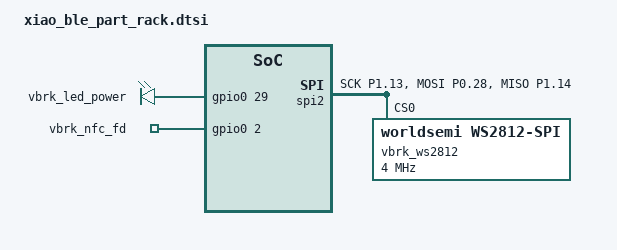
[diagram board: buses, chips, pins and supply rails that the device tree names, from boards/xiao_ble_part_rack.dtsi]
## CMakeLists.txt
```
cmake_minimum_required(VERSION 3.20.0)

find_package(Zephyr REQUIRED HINTS $ENV{ZEPHYR_BASE})
project(part_rack_nrf52)

target_include_directories(app PRIVATE
  src
  ../../../protocol
)

target_sources(app PRIVATE
  src/main.c
  src/app_ble.c
  src/binding_table.c
  src/device_health.c
  src/light_control.c
  src/nfc_wake.c
  ../../../protocol/viberack_adv_payload.c
  ../../../protocol/viberack_ble_dispatcher_model.c
  ../../../protocol/viberack_ble_lifecycle.c
  ../../../protocol/viberack_binding_table_model.c
  ../../../protocol/viberack_device_health.c
  ../../../protocol/viberack_light_frame.c
  ../../../protocol/viberack_light_policy.c
  ../../../protocol/viberack_light_state.c
  ../../../protocol/viberack_protocol.c
  ../../../protocol/viberack_read_all_pacer.c
  ../../../protocol/viberack_storage.c
)
```

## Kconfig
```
source "Kconfig.zephyr"

menu "PartRack application options"

config VBRK_WATCHDOG_ENABLE
    bool "Enable PartRack watchdog feeding"
    default n
    depends on WATCHDOG
    help
      Enables the hardware watchdog setup in the PartRack application.
      Keep this disabled for normal bring-up builds until the watchdog
      reset path has been explicitly validated.

endmenu
```

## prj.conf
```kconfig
CONFIG_BT=y
CONFIG_BT_PERIPHERAL=y
CONFIG_BT_DEVICE_NAME="VBRK-0000"
CONFIG_BT_DEVICE_APPEARANCE=0
CONFIG_BT_GATT_CLIENT=n
CONFIG_BT_MAX_CONN=1
CONFIG_BT_SETTINGS=y
CONFIG_BT_SMP=y
CONFIG_BT_MAX_PAIRED=10
CONFIG_BT_KEYS_OVERWRITE_OLDEST=y

CONFIG_SETTINGS=y
CONFIG_FLASH=y
CONFIG_FLASH_MAP=y
CONFIG_NVS=y

CONFIG_GPIO=y
CONFIG_HWINFO=y
CONFIG_PWM=y
CONFIG_I2C=y
CONFIG_SPI=y
CONFIG_LED_STRIP=y
CONFIG_WATCHDOG=y

CONFIG_LOG=y
CONFIG_LOG_DEFAULT_LEVEL=3
CONFIG_PRINTK=y

CONFIG_MAIN_STACK_SIZE=2048
CONFIG_SYSTEM_WORKQUEUE_STACK_SIZE=2048
```

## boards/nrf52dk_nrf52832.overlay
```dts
/ {
    vbrk_outputs {
        compatible = "gpio-leds";

        vbrk_led_data: led_data {
            gpios = <&gpio0 13 GPIO_ACTIVE_HIGH>;
        };

        vbrk_led_power: led_power {
            gpios = <&gpio0 14 GPIO_ACTIVE_HIGH>;
        };
    };

    vbrk_inputs {
        compatible = "gpio-keys";

        vbrk_nfc_fd: nfc_fd {
            gpios = <&gpio0 15 GPIO_ACTIVE_HIGH>;
        };
    };

    aliases {
        vbrk-led-data = &vbrk_led_data;
        vbrk-led-power = &vbrk_led_power;
        vbrk-nfc-fd = &vbrk_nfc_fd;
    };
};
```

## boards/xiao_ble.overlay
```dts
/*
 * Bare XIAO validation overlay.
 *
 * External PartRack peripherals are optional during naked-board
 * bring-up and must not block BLE startup.
 */
/* #include "xiao_ble_part_rack.dtsi" */
```

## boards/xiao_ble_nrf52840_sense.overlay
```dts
/*
 * Bare XIAO validation overlay.
 *
 * The external PartRack peripherals in xiao_ble_part_rack.dtsi
 * (WS2812 strip, strip power gate, NFC FD input) are intentionally
 * disabled for the current naked development board. Keep BLE and
 * board LEDs independent from optional external hardware.
 *
 * Re-enable the include below when the external strip/NFC hardware
 * is connected and ready for bring-up.
 */
/* #include "xiao_ble_part_rack.dtsi" */
```

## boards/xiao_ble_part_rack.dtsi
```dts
#include <zephyr/dt-bindings/led/led.h>
#include <zephyr/dt-bindings/pinctrl/nrf-pinctrl.h>

&pinctrl {
    vbrk_spi2_ws2812_default: vbrk_spi2_ws2812_default {
        group1 {
            psels = <NRF_PSEL(SPIM_SCK, 1, 13)>,
                    <NRF_PSEL(SPIM_MOSI, 0, 28)>,
                    <NRF_PSEL(SPIM_MISO, 1, 14)>;
        };
    };

    vbrk_spi2_ws2812_sleep: vbrk_spi2_ws2812_sleep {
        group1 {
            psels = <NRF_PSEL(SPIM_SCK, 1, 13)>,
                    <NRF_PSEL(SPIM_MOSI, 0, 28)>,
                    <NRF_PSEL(SPIM_MISO, 1, 14)>;
            low-power-enable;
        };
    };
};

&spi2 {
    compatible = "nordic,nrf-spim";
    status = "okay";
    pinctrl-0 = <&vbrk_spi2_ws2812_default>;
    pinctrl-1 = <&vbrk_spi2_ws2812_sleep>;
    pinctrl-names = "default", "sleep";

    vbrk_ws2812: ws2812@0 {
        compatible = "worldsemi,ws2812-spi";
        reg = <0>;
        spi-max-frequency = <4000000>;
        chain-length = <25>;
        color-mapping = <LED_COLOR_ID_GREEN
                         LED_COLOR_ID_RED
                         LED_COLOR_ID_BLUE>;
        spi-one-frame = <0x70>;
        spi-zero-frame = <0x40>;
        reset-delay = <80>;
    };
};

/ {
    vbrk_outputs {
        compatible = "gpio-leds";

        vbrk_led_power: led_power {
            gpios = <&gpio0 29 GPIO_ACTIVE_HIGH>; /* XIAO D3 */
        };
    };

    vbrk_inputs {
        compatible = "gpio-keys";

        vbrk_nfc_fd: nfc_fd {
            gpios = <&gpio0 2 GPIO_ACTIVE_HIGH>; /* XIAO D0 */
        };
    };

    aliases {
        vbrk-led-power = &vbrk_led_power;
        vbrk-led-strip = &vbrk_ws2812;
        led-strip = &vbrk_ws2812;
        vbrk-nfc-fd = &vbrk_nfc_fd;
    };
};
```

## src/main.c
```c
#include <zephyr/kernel.h>
#include <zephyr/devicetree.h>
#include <zephyr/drivers/gpio.h>
#include <zephyr/logging/log.h>
#include <zephyr/settings/settings.h>

#include "app_ble.h"
#include "binding_table.h"
#include "device_health.h"
#include "light_control.h"
#include "nfc_wake.h"

LOG_MODULE_REGISTER(part_rack, LOG_LEVEL_INF);

#define LED_RED_NODE DT_ALIAS(led0)
#define LED_GREEN_NODE DT_ALIAS(led1)
#define LED_BLUE_NODE DT_ALIAS(led2)

static const struct gpio_dt_spec led_red = GPIO_DT_SPEC_GET(LED_RED_NODE, gpios);
static const struct gpio_dt_spec led_green = GPIO_DT_SPEC_GET(LED_GREEN_NODE, gpios);
static const struct gpio_dt_spec led_blue = GPIO_DT_SPEC_GET(LED_BLUE_NODE, gpios);
static volatile bool ble_connected;

static void status_led_set(const struct gpio_dt_spec *led, bool on)
{
    if (device_is_ready(led->port)) {
        gpio_pin_set_dt(led, on ? 1 : 0);
    }
}

static void status_leds_init(void)
{
    if (device_is_ready(led_red.port)) {
        gpio_pin_configure_dt(&led_red, GPIO_OUTPUT_INACTIVE);
    }
    if (device_is_ready(led_green.port)) {
        gpio_pin_configure_dt(&led_green, GPIO_OUTPUT_INACTIVE);
    }
    if (device_is_ready(led_blue.port)) {
        gpio_pin_configure_dt(&led_blue, GPIO_OUTPUT_INACTIVE);
    }
}

static void blink_status(const struct gpio_dt_spec *led, int count, int on_ms, int off_ms)
{
    for (int i = 0; i < count; i++) {
        status_led_set(led, true);
        k_msleep(on_ms);
        status_led_set(led, false);
        k_msleep(off_ms);
    }
}

static int fatal_ble_error(int err)
{
    status_led_set(&led_green, false);
    while (true) {
        blink_status(&led_red, 3, 200, 200);
        k_msleep(1000);
    }
    return err;
}

int main(void)
{
    int err;

    status_leds_init();
    blink_status(&led_blue, 3, 100, 100);
    status_led_set(&led_red, true);

    LOG_INF("PartRack nRF52 firmware starting");

    err = binding_table_init();
    if (err != 0) {
        LOG_ERR("binding table init failed: %d", err);
        while (true) {
            blink_status(&led_red, 1, 500, 500);
        }
        return err;
    }

    err = light_control_init();
    if (err != 0) {
        LOG_ERR("light control init failed: %d", err);
        while (true) {
            blink_status(&led_red, 2, 250, 250);
            k_msleep(750);
        }
        return err;
    }

    err = device_health_init();
    if (err != 0) {
        LOG_WRN("device health init failed: %d", err);
    }

    err = nfc_wake_init();
    if (err != 0) {
        LOG_WRN("nfc wake init failed: %d", err);
    }

    err = app_ble_init();
    if (err != 0) {
        LOG_ERR("ble start failed: %d", err);
        return fatal_ble_error(err);
    }

    if (IS_ENABLED(CONFIG_BT_SETTINGS)) {
        err = settings_load();
        if (err != 0) {
            LOG_ERR("settings load failed: %d", err);
            return fatal_ble_error(err);
        }
    }

    err = app_ble_start();
    if (err != 0) {
        LOG_ERR("ble advertising start failed: %d", err);
        return fatal_ble_error(err);
    }

    status_led_set(&led_red, false);
    LOG_INF("PartRack firmware ready");

    while (true) {
        device_health_feed_watchdog();

        if (ble_connected) {
            status_led_set(&led_green, false);
            status_led_set(&led_blue, true);
            k_msleep(200);
            continue;
        }

        status_led_set(&led_blue, false);
        blink_status(&led_green, 1, 200, 1800);
    }
}

void app_status_set_ble_connected(bool connected)
{
    ble_connected = connected;
}
```

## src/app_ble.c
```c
#include "app_ble.h"

#include <errno.h>
#include <stddef.h>
#include <string.h>

#include <zephyr/bluetooth/bluetooth.h>
#include <zephyr/bluetooth/conn.h>
#include <zephyr/bluetooth/gatt.h>
#include <zephyr/bluetooth/hci.h>
#include <zephyr/irq.h>
#include <zephyr/kernel.h>
#include <zephyr/logging/log.h>
#include <zephyr/sys/byteorder.h>

#include "binding_table.h"
#include "device_health.h"
#include "light_control.h"
#include "viberack_adv_payload.h"
#include "viberack_ble_dispatcher_model.h"
#include "viberack_ble_lifecycle.h"
#include "viberack_device_health.h"
#include "viberack_read_all_pacer.h"

LOG_MODULE_REGISTER(app_ble, LOG_LEVEL_INF);

void app_status_set_ble_connected(bool connected);

#define VBRK_BT_UUID_BASE BT_UUID_128_ENCODE(0x7f4b0000, 0x8d1a, 0x4d45, 0x9a4e, 0x2b4a7c000000)
#define VBRK_BT_UUID_BINDING_SERVICE BT_UUID_128_ENCODE(0x7f4b0001, 0x8d1a, 0x4d45, 0x9a4e, 0x2b4a7c000000)
#define VBRK_BT_UUID_BINDING_CP BT_UUID_128_ENCODE(0x7f4b1001, 0x8d1a, 0x4d45, 0x9a4e, 0x2b4a7c000000)
#define VBRK_BT_UUID_TABLE_INFO BT_UUID_128_ENCODE(0x7f4b1002, 0x8d1a, 0x4d45, 0x9a4e, 0x2b4a7c000000)
#define VBRK_BT_UUID_LIGHT_SERVICE BT_UUID_128_ENCODE(0x7f4b0002, 0x8d1a, 0x4d45, 0x9a4e, 0x2b4a7c000000)
#define VBRK_BT_UUID_LIGHT_COMMAND BT_UUID_128_ENCODE(0x7f4b2001, 0x8d1a, 0x4d45, 0x9a4e, 0x2b4a7c000000)
#define VBRK_BT_UUID_LIGHT_STATUS BT_UUID_128_ENCODE(0x7f4b2002, 0x8d1a, 0x4d45, 0x9a4e, 0x2b4a7c000000)
#define VBRK_BT_UUID_HEALTH_SERVICE BT_UUID_128_ENCODE(0x7f4b0003, 0x8d1a, 0x4d45, 0x9a4e, 0x2b4a7c000000)
#define VBRK_BT_UUID_DEVICE_HEALTH BT_UUID_128_ENCODE(0x7f4b3001, 0x8d1a, 0x4d45, 0x9a4e, 0x2b4a7c000000)

static struct bt_conn *current_conn;
static vbrk_ble_lifecycle_t ble_lifecycle;
static struct k_work ble_lifecycle_work;
static vbrk_read_all_pacer_t read_all_pacer;
static struct k_work_delayable read_all_work;

static struct bt_uuid_128 binding_service_uuid = BT_UUID_INIT_128(VBRK_BT_UUID_BINDING_SERVICE);
static struct bt_uuid_128 binding_cp_uuid = BT_UUID_INIT_128(VBRK_BT_UUID_BINDING_CP);
static struct bt_uuid_128 table_info_uuid = BT_UUID_INIT_128(VBRK_BT_UUID_TABLE_INFO);
static struct bt_uuid_128 light_service_uuid = BT_UUID_INIT_128(VBRK_BT_UUID_LIGHT_SERVICE);
static struct bt_uuid_128 light_command_uuid = BT_UUID_INIT_128(VBRK_BT_UUID_LIGHT_COMMAND);
static struct bt_uuid_128 light_status_uuid = BT_UUID_INIT_128(VBRK_BT_UUID_LIGHT_STATUS);
static struct bt_uuid_128 health_service_uuid = BT_UUID_INIT_128(VBRK_BT_UUID_HEALTH_SERVICE);
static struct bt_uuid_128 device_health_uuid = BT_UUID_INIT_128(VBRK_BT_UUID_DEVICE_HEALTH);

static uint8_t adv_msd[VBRK_ADV_MSD_SIZE];

static void ble_lifecycle_work_handler(struct k_work *work)
{
    ARG_UNUSED(work);
    vbrk_ble_lifecycle_process(&ble_lifecycle);
}

static void read_all_work_handler(struct k_work *work)
{
    ARG_UNUSED(work);
    vbrk_read_all_pacer_process(&read_all_pacer);
}

static unsigned int lifecycle_lock(void *user_data)
{
    ARG_UNUSED(user_data);
    return irq_lock();
}

static void lifecycle_unlock(unsigned int key, void *user_data)
{
    ARG_UNUSED(user_data);
    irq_unlock(key);
}

static void lifecycle_schedule_work(void *user_data)
{
    ARG_UNUSED(user_data);
    (void)k_work_submit(&ble_lifecycle_work);
}

static void fill_adv_msd(void)
{
    vbrk_adv_payload_input_t input = {
        .company_id = VBRK_DEV_COMPANY_ID,
        .batch_id = 1,
        .battery_pct = device_health_battery_pct(),
        .table_seq = binding_table_seq(),
        .has_unbound_slot = binding_table_has_unbound_slot(),
        .light_active = light_control_mode() != VBRK_LIGHT_OFF,
        .fault = device_health_fault(),
    };

    vbrk_adv_payload_build(adv_msd, &input);
}

static const struct bt_data ad[] = {
    BT_DATA_BYTES(BT_DATA_FLAGS, (BT_LE_AD_GENERAL | BT_LE_AD_NO_BREDR)),
    BT_DATA(BT_DATA_MANUFACTURER_DATA, adv_msd, sizeof(adv_msd)),
};

static const struct bt_data sd[] = {
    BT_DATA(BT_DATA_NAME_COMPLETE, CONFIG_BT_DEVICE_NAME, sizeof(CONFIG_BT_DEVICE_NAME) - 1),
};

static int lifecycle_apply_advertising(bool restart, void *user_data)
{
    ARG_UNUSED(user_data);

    fill_adv_msd();

    if (restart) {
        return bt_le_adv_start(BT_LE_ADV_CONN_FAST_1, ad, ARRAY_SIZE(ad),
                               sd, ARRAY_SIZE(sd));
    }

    return bt_le_adv_update_data(ad, ARRAY_SIZE(ad), sd, ARRAY_SIZE(sd));
}

static ssize_t table_info_read(struct bt_conn *conn, const struct bt_gatt_attr *attr,
                               void *buf, uint16_t len, uint16_t offset)
{
    vbrk_table_info_t info;

    ARG_UNUSED(attr);
    binding_table_get_info(&info);
    return bt_gatt_attr_read(conn, attr, buf, len, offset, &info, sizeof(info));
}

static ssize_t light_status_read(struct bt_conn *conn, const struct bt_gatt_attr *attr,
                                 void *buf, uint16_t len, uint16_t offset)
{
    uint8_t status[3];

    ARG_UNUSED(attr);
    status[0] = light_control_mode();
    sys_put_le16(light_control_remaining_s(), &status[1]);

    return bt_gatt_attr_read(conn, attr, buf, len, offset, status, sizeof(status));
}

static ssize_t device_health_read(struct bt_conn *conn, const struct bt_gatt_attr *attr,
                                  void *buf, uint16_t len, uint16_t offset)
{
    uint8_t payload[VBRK_DEVICE_HEALTH_SIZE];
    vbrk_device_health_t health;

    ARG_UNUSED(attr);

    device_health_get(&health);
    vbrk_device_health_encode(payload, &health);

    return bt_gatt_attr_read(conn, attr, buf, len, offset, payload, sizeof(payload));
}

static int dispatcher_read_one(uint8_t slot, vbrk_slot_record_t *record, void *user_data)
{
    ARG_UNUSED(user_data);
    return binding_table_read_one(slot, record);
}

static void read_all_schedule_next(uint16_t delay_ms, void *user_data)
{
    ARG_UNUSED(user_data);
    (void)k_work_schedule(&read_all_work, K_MSEC(delay_ms));
}

static int dispatcher_write_one(const vbrk_slot_record_t *record, void *user_data)
{
    ARG_UNUSED(user_data);
    return binding_table_write_one(record);
}

static int dispatcher_clear_one(uint8_t slot, void *user_data)
{
    ARG_UNUSED(user_data);
    return binding_table_clear_one(slot);
}

static int dispatcher_insert_at(uint8_t slot, const vbrk_slot_record_t *record,
                                void *user_data)
{
    ARG_UNUSED(user_data);
    return binding_table_insert_at(slot, record);
}

static int dispatcher_remove_at(uint8_t slot, void *user_data)
{
    ARG_UNUSED(user_data);
    return binding_table_remove_at(slot);
}

static int dispatcher_move_block(uint8_t from, uint8_t to, uint8_t len, void *user_data)
{
    ARG_UNUSED(user_data);
    return binding_table_move_block(from, to, len);
}

static int dispatcher_set_qty(uint8_t slot, uint16_t qty, void *user_data)
{
    ARG_UNUSED(user_data);
    return binding_table_set_qty(slot, qty);
}

static int dispatcher_factory_reset(uint32_t magic, void *user_data)
{
    ARG_UNUSED(user_data);
    return binding_table_factory_reset(magic);
}

static int dispatcher_notify_binding(uint8_t op, uint8_t status, const void *payload,
                                     uint16_t len, void *user_data)
{
    ARG_UNUSED(user_data);
    return app_ble_notify_binding_result(op, status, payload, len);
}

static void dispatcher_table_changed(void *user_data)
{
    ARG_UNUSED(user_data);
    app_ble_report_binding_changed();
}

static void notify_binding_status(uint8_t op, int err)
{
    (void)app_ble_notify_binding_result(op, vbrk_ble_status_from_errno(err),
                                        NULL, 0);
}

static bool handle_read_all_async(const uint8_t *frame, uint16_t len)
{
    if (frame[0] != VBRK_OP_READ_ALL) {
        return false;
    }

    if (len != 1) {
        notify_binding_status(VBRK_OP_READ_ALL, -EINVAL);
        return true;
    }

    vbrk_read_all_pacer_start(&read_all_pacer);
    return true;
}

static ssize_t binding_cp_write(struct bt_conn *conn, const struct bt_gatt_attr *attr,
                                const void *buf, uint16_t len, uint16_t offset,
                                uint8_t flags)
{
    const uint8_t *frame = buf;
    vbrk_ble_dispatcher_t dispatcher = {
        .read_one = dispatcher_read_one,
        .write_one = dispatcher_write_one,
        .clear_one = dispatcher_clear_one,
        .insert_at = dispatcher_insert_at,
        .remove_at = dispatcher_remove_at,
        .move_block = dispatcher_move_block,
        .set_qty = dispatcher_set_qty,
        .factory_reset = dispatcher_factory_reset,
        .notify_binding = dispatcher_notify_binding,
        .table_changed = dispatcher_table_changed,
        .user_data = NULL,
    };

    ARG_UNUSED(conn);
    ARG_UNUSED(attr);
    ARG_UNUSED(flags);

    if (offset != 0 || len < 1) {
        return BT_GATT_ERR(BT_ATT_ERR_INVALID_ATTRIBUTE_LEN);
    }

    if (handle_read_all_async(frame, len)) {
        return len;
    }

    (void)vbrk_ble_dispatch_binding_cp(&dispatcher, frame, len);
    return len;
}

static ssize_t light_command_write(struct bt_conn *conn, const struct bt_gatt_attr *attr,
                                   const void *buf, uint16_t len, uint16_t offset,
                                   uint8_t flags)
{
    int err;

    ARG_UNUSED(conn);
    ARG_UNUSED(attr);
    ARG_UNUSED(flags);

    if (offset != 0 || len != VBRK_LIGHT_COMMAND_SIZE) {
        return BT_GATT_ERR(BT_ATT_ERR_INVALID_ATTRIBUTE_LEN);
    }

    err = light_control_apply((const vbrk_light_command_t *)buf);
    if (err != 0) {
        LOG_WRN("light command rejected: %d", err);
    }

    return len;
}

BT_GATT_SERVICE_DEFINE(binding_svc,
    BT_GATT_PRIMARY_SERVICE(&binding_service_uuid.uuid),
    BT_GATT_CHARACTERISTIC(&binding_cp_uuid.uuid,
                           BT_GATT_CHRC_WRITE | BT_GATT_CHRC_NOTIFY,
                           BT_GATT_PERM_WRITE_ENCRYPT,
                           NULL, binding_cp_write, NULL),
    BT_GATT_CCC(NULL, BT_GATT_PERM_READ | BT_GATT_PERM_WRITE),
    BT_GATT_CHARACTERISTIC(&table_info_uuid.uuid,
                           BT_GATT_CHRC_READ | BT_GATT_CHRC_NOTIFY,
                           BT_GATT_PERM_READ,
                           table_info_read, NULL, NULL),
    BT_GATT_CCC(NULL, BT_GATT_PERM_READ | BT_GATT_PERM_WRITE)
);

BT_GATT_SERVICE_DEFINE(light_svc,
    BT_GATT_PRIMARY_SERVICE(&light_service_uuid.uuid),
    BT_GATT_CHARACTERISTIC(&light_command_uuid.uuid,
                           BT_GATT_CHRC_WRITE_WITHOUT_RESP,
                           BT_GATT_PERM_WRITE,
                           NULL, light_command_write, NULL),
    BT_GATT_CHARACTERISTIC(&light_status_uuid.uuid,
                           BT_GATT_CHRC_READ | BT_GATT_CHRC_NOTIFY,
                           BT_GATT_PERM_READ,
                           light_status_read, NULL, NULL),
    BT_GATT_CCC(NULL, BT_GATT_PERM_READ | BT_GATT_PERM_WRITE)
);

BT_GATT_SERVICE_DEFINE(health_svc,
    BT_GATT_PRIMARY_SERVICE(&health_service_uuid.uuid),
    BT_GATT_CHARACTERISTIC(&device_health_uuid.uuid,
                           BT_GATT_CHRC_READ | BT_GATT_CHRC_NOTIFY,
                           BT_GATT_PERM_READ,
                           device_health_read, NULL, NULL),
    BT_GATT_CCC(NULL, BT_GATT_PERM_READ | BT_GATT_PERM_WRITE)
);

static void connected(struct bt_conn *conn, uint8_t err)
{
    int sec_err;

    if (err != 0) {
        LOG_WRN("connection failed: %u", err);
        return;
    }

    current_conn = bt_conn_ref(conn);
    vbrk_ble_lifecycle_connected(&ble_lifecycle);
    app_status_set_ble_connected(true);
    LOG_INF("connected");

    sec_err = bt_conn_set_security(conn, BT_SECURITY_L2);
    if (sec_err != 0) {
        LOG_WRN("failed to request encrypted link: %d", sec_err);
    }
}

static void disconnected(struct bt_conn *conn, uint8_t reason)
{
    ARG_UNUSED(conn);

    LOG_INF("disconnected: %u", reason);
    if (current_conn != NULL) {
        bt_conn_unref(current_conn);
        current_conn = NULL;
    }
    vbrk_read_all_pacer_cancel(&read_all_pacer);
    (void)k_work_cancel_delayable(&read_all_work);
    vbrk_ble_lifecycle_disconnected(&ble_lifecycle);
    app_status_set_ble_connected(false);
}

static void security_changed(struct bt_conn *conn, bt_security_t level,
                             enum bt_security_err err)
{
    ARG_UNUSED(conn);

    if (err == BT_SECURITY_ERR_SUCCESS) {
        LOG_INF("security changed: level %u", level);
        return;
    }

    LOG_WRN("security failed: level %u err %u", level, err);
}

BT_CONN_CB_DEFINE(conn_callbacks) = {
    .connected = connected,
    .disconnected = disconnected,
    .security_changed = security_changed,
};

static int lifecycle_notify_binding(uint8_t op, uint8_t status, const void *payload,
                                    uint16_t len, void *user_data)
{
    uint8_t frame[2 + VBRK_SLOT_RECORD_SIZE];

    ARG_UNUSED(user_data);

    if (current_conn == NULL || len > VBRK_SLOT_RECORD_SIZE) {
        return -ENOTCONN;
    }

    frame[0] = op;
    frame[1] = status;
    if (payload != NULL && len > 0) {
        memcpy(&frame[2], payload, len);
    }

    return bt_gatt_notify(current_conn, &binding_svc.attrs[2], frame, 2 + len);
}

static int lifecycle_notify_table_info(void *user_data)
{
    vbrk_table_info_t info;

    ARG_UNUSED(user_data);

    if (current_conn == NULL) {
        return -ENOTCONN;
    }

    binding_table_get_info(&info);
    return bt_gatt_notify(current_conn, &binding_svc.attrs[5], &info, sizeof(info));
}

static int lifecycle_notify_light_status(uint8_t mode, uint16_t remaining_s,
                                         void *user_data)
{
    uint8_t status[3];

    ARG_UNUSED(user_data);

    if (current_conn == NULL) {
        return -ENOTCONN;
    }

    status[0] = mode;
    sys_put_le16(remaining_s, &status[1]);
    return bt_gatt_notify(current_conn, &light_svc.attrs[4], status, sizeof(status));
}

int app_ble_notify_binding_result(uint8_t op, uint8_t status, const void *payload, uint16_t len)
{
    return vbrk_ble_lifecycle_notify_binding(&ble_lifecycle, op, status,
                                             payload, len);
}

void app_ble_report_binding_changed(void)
{
    vbrk_ble_lifecycle_report_binding_changed(&ble_lifecycle);
}

void app_ble_report_light_changed(void)
{
    vbrk_ble_lifecycle_report_light_changed(&ble_lifecycle,
                                            light_control_mode(),
                                            light_control_remaining_s());
}

void app_ble_report_nfc_fd(void)
{
    vbrk_ble_lifecycle_report_nfc_fd(&ble_lifecycle);
}

int app_ble_init(void)
{
    vbrk_ble_lifecycle_adapter_t adapter = {
        .lock = lifecycle_lock,
        .unlock = lifecycle_unlock,
        .schedule_work = lifecycle_schedule_work,
        .apply_advertising = lifecycle_apply_advertising,
        .notify_binding = lifecycle_notify_binding,
        .notify_table_info = lifecycle_notify_table_info,
        .notify_light_status = lifecycle_notify_light_status,
        .user_data = NULL,
    };
    int err;

    k_work_init(&ble_lifecycle_work, ble_lifecycle_work_handler);
    k_work_init_delayable(&read_all_work, read_all_work_handler);
    vbrk_ble_lifecycle_init(&ble_lifecycle, &adapter);
    vbrk_read_all_pacer_init(&read_all_pacer,
                             &(vbrk_read_all_pacer_adapter_t) {
                                 .read_one = dispatcher_read_one,
                                 .notify_binding = dispatcher_notify_binding,
                                 .schedule_next = read_all_schedule_next,
                                 .user_data = NULL,
                             });

    err = bt_enable(NULL);
    if (err != 0) {
        return err;
    }

    vbrk_ble_lifecycle_bluetooth_initialized(&ble_lifecycle);
    LOG_INF("Bluetooth initialized");
    return 0;
}

int app_ble_start(void)
{
    int err;

    err = vbrk_ble_lifecycle_start(&ble_lifecycle);
    if (err == 0) {
        LOG_INF("advertising started");
    }

    return err;
}
```

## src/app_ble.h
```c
#ifndef APP_BLE_H
#define APP_BLE_H

#include <stdbool.h>
#include <stdint.h>

#include "viberack_protocol.h"

int app_ble_init(void);
int app_ble_start(void);
int app_ble_notify_binding_result(uint8_t op, uint8_t status, const void *payload, uint16_t len);
void app_ble_report_binding_changed(void);
void app_ble_report_light_changed(void);
void app_ble_report_nfc_fd(void);

#endif
```

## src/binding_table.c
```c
#include "binding_table.h"

#include <errno.h>
#include <stdbool.h>
#include <string.h>

#include <zephyr/kernel.h>
#include <zephyr/logging/log.h>
#include <zephyr/settings/settings.h>

#include "viberack_binding_table_model.h"
#include "viberack_storage.h"

LOG_MODULE_REGISTER(binding_table, LOG_LEVEL_INF);

#define BINDING_TABLE_SETTINGS_TREE "vbrk"
#define BINDING_TABLE_SETTINGS_NAME "binding_table"
#define BINDING_TABLE_SETTINGS_KEY BINDING_TABLE_SETTINGS_TREE "/" BINDING_TABLE_SETTINGS_NAME

static vbrk_binding_table_model_t table_model;
static bool table_model_initialized;

static int persist_table(const vbrk_slot_record_t table[VBRK_SLOT_COUNT], uint32_t seq,
                         void *user_data);

static void ensure_table_model_initialized(void)
{
    if (!table_model_initialized) {
        vbrk_binding_table_model_init(&table_model, persist_table, NULL);
        table_model_initialized = true;
    }
}

static int persist_table(const vbrk_slot_record_t table[VBRK_SLOT_COUNT], uint32_t seq,
                         void *user_data)
{
    vbrk_binding_snapshot_t snapshot;

    ARG_UNUSED(user_data);
    vbrk_binding_snapshot_encode(&snapshot, table, seq);
    return settings_save_one(BINDING_TABLE_SETTINGS_KEY, &snapshot, sizeof(snapshot));
}

static int binding_table_settings_set(const char *key, size_t len, settings_read_cb read_cb,
                                      void *cb_arg)
{
    vbrk_binding_snapshot_t snapshot;
    vbrk_slot_record_t loaded_records[VBRK_SLOT_COUNT];
    uint32_t loaded_seq = 0;
    ssize_t read_len;
    int err;

    if (strcmp(key, BINDING_TABLE_SETTINGS_NAME) != 0) {
        return -ENOENT;
    }

    ensure_table_model_initialized();

    read_len = read_cb(cb_arg, &snapshot, sizeof(snapshot));
    if (read_len < 0) {
        LOG_WRN("binding table load failed: %d", (int)read_len);
        return (int)read_len;
    }

    err = vbrk_binding_snapshot_decode(&snapshot, (size_t)read_len, loaded_records,
                                       &loaded_seq);
    if (err != 0) {
        LOG_WRN("binding table snapshot invalid: %d", err);
        binding_table_init();
        return 0;
    }

    vbrk_binding_table_model_load(&table_model, loaded_records, loaded_seq);
    LOG_INF("binding table restored: seq=%u",
            vbrk_binding_table_model_seq(&table_model));
    return 0;
}

SETTINGS_STATIC_HANDLER_DEFINE(vbrk_binding_table, BINDING_TABLE_SETTINGS_TREE,
                               NULL, binding_table_settings_set, NULL, NULL);

int binding_table_init(void)
{
    vbrk_binding_table_model_init(&table_model, persist_table, NULL);
    table_model_initialized = true;
    return 0;
}

int binding_table_read_one(uint8_t slot, vbrk_slot_record_t *record)
{
    return vbrk_binding_table_model_read_one(&table_model, slot, record);
}

int binding_table_write_one(const vbrk_slot_record_t *record)
{
    return vbrk_binding_table_model_write_one(&table_model, record);
}

int binding_table_clear_one(uint8_t slot)
{
    return vbrk_binding_table_model_clear_one(&table_model, slot);
}

int binding_table_insert_at(uint8_t slot, const vbrk_slot_record_t *record)
{
    return vbrk_binding_table_model_insert_at(&table_model, slot, record);
}

int binding_table_remove_at(uint8_t slot)
{
    return vbrk_binding_table_model_remove_at(&table_model, slot);
}

int binding_table_move_block(uint8_t from, uint8_t to, uint8_t len)
{
    return vbrk_binding_table_model_move_block(&table_model, from, to, len);
}

int binding_table_set_qty(uint8_t slot, uint16_t qty)
{
    return vbrk_binding_table_model_set_qty(&table_model, slot, qty);
}

int binding_table_factory_reset(uint32_t magic)
{
    return vbrk_binding_table_model_factory_reset(&table_model, magic);
}

void binding_table_get_info(vbrk_table_info_t *info)
{
    vbrk_binding_table_model_get_info(&table_model, info);
}

uint32_t binding_table_seq(void)
{
    return vbrk_binding_table_model_seq(&table_model);
}

bool binding_table_has_unbound_slot(void)
{
    return vbrk_binding_table_model_has_unbound_slot(&table_model);
}
```

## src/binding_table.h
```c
#ifndef BINDING_TABLE_H
#define BINDING_TABLE_H

#include <stdbool.h>
#include <stdint.h>

#include "viberack_protocol.h"

int binding_table_init(void);
int binding_table_read_one(uint8_t slot, vbrk_slot_record_t *record);
int binding_table_write_one(const vbrk_slot_record_t *record);
int binding_table_clear_one(uint8_t slot);
int binding_table_insert_at(uint8_t slot, const vbrk_slot_record_t *record);
int binding_table_remove_at(uint8_t slot);
int binding_table_move_block(uint8_t from, uint8_t to, uint8_t len);
int binding_table_set_qty(uint8_t slot, uint16_t qty);
int binding_table_factory_reset(uint32_t magic);
void binding_table_get_info(vbrk_table_info_t *info);
uint32_t binding_table_seq(void);
bool binding_table_has_unbound_slot(void);

#endif
```

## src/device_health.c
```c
#include "device_health.h"

#include <errno.h>

#include <zephyr/device.h>
#include <zephyr/devicetree.h>
#include <zephyr/drivers/adc.h>
#include <zephyr/drivers/hwinfo.h>
#include <zephyr/drivers/watchdog.h>
#include <zephyr/kernel.h>
#include <zephyr/logging/log.h>

#include "viberack_device_health.h"

LOG_MODULE_REGISTER(device_health, LOG_LEVEL_INF);

#define BATTERY_EMPTY_MV 3000
#define BATTERY_FULL_MV 4200
#define WATCHDOG_TIMEOUT_MS 8000

#if DT_HAS_ALIAS(vbrk_battery_adc)
static const struct adc_dt_spec battery_adc =
    ADC_DT_SPEC_GET(DT_ALIAS(vbrk_battery_adc));
static int16_t battery_raw;
#endif

#if DT_HAS_ALIAS(watchdog0)
static const struct device *const watchdog = DEVICE_DT_GET(DT_ALIAS(watchdog0));
#endif

static uint8_t battery_pct = 100;
static uint16_t reset_reason = VBRK_RESET_REASON_UNKNOWN;
static bool watchdog_enabled;
static bool health_fault;
static int watchdog_channel_id = -1;

static uint16_t map_reset_reason(uint32_t cause)
{
    uint16_t mapped = VBRK_RESET_REASON_UNKNOWN;

    if ((cause & RESET_POR) != 0u) {
        mapped |= VBRK_RESET_REASON_POWER_ON;
    }
    if ((cause & RESET_PIN) != 0u) {
        mapped |= VBRK_RESET_REASON_PIN;
    }
    if ((cause & RESET_SOFTWARE) != 0u) {
        mapped |= VBRK_RESET_REASON_SOFTWARE;
    }
    if ((cause & RESET_WATCHDOG) != 0u) {
        mapped |= VBRK_RESET_REASON_WATCHDOG;
    }
    if ((cause & RESET_CPU_LOCKUP) != 0u) {
        mapped |= VBRK_RESET_REASON_LOCKUP;
    }
    if ((cause & RESET_LOW_POWER_WAKE) != 0u) {
        mapped |= VBRK_RESET_REASON_OFF;
    }
    if ((cause & ~(RESET_POR | RESET_PIN | RESET_SOFTWARE | RESET_WATCHDOG |
                   RESET_CPU_LOCKUP | RESET_LOW_POWER_WAKE)) != 0u) {
        mapped |= VBRK_RESET_REASON_OTHER;
    }

    return mapped;
}

static void load_reset_reason(void)
{
    uint32_t cause = 0;
    int err;

    if (!IS_ENABLED(CONFIG_HWINFO)) {
        LOG_WRN("hwinfo disabled; reset reason unavailable");
        return;
    }

    err = hwinfo_get_reset_cause(&cause);
    if (err != 0) {
        LOG_WRN("failed to read reset reason: %d", err);
        health_fault = true;
        return;
    }

    reset_reason = map_reset_reason(cause);
    LOG_INF("reset reason cause=0x%08x mapped=0x%04x", cause, reset_reason);

    err = hwinfo_clear_reset_cause();
    if (err != 0) {
        LOG_WRN("failed to clear reset reason: %d", err);
    }
}

static void sample_battery(void)
{
#if DT_HAS_ALIAS(vbrk_battery_adc)
    struct adc_sequence sequence = {
        .buffer = &battery_raw,
        .buffer_size = sizeof(battery_raw),
    };
    int32_t mv;
    int err;

    if (!adc_is_ready_dt(&battery_adc)) {
        LOG_WRN("battery ADC device is not ready");
        health_fault = true;
        return;
    }

    err = adc_channel_setup_dt(&battery_adc);
    if (err != 0) {
        LOG_WRN("battery ADC channel setup failed: %d", err);
        health_fault = true;
        return;
    }

    err = adc_sequence_init_dt(&battery_adc, &sequence);
    if (err != 0) {
        LOG_WRN("battery ADC sequence setup failed: %d", err);
        health_fault = true;
        return;
    }

    err = adc_read_dt(&battery_adc, &sequence);
    if (err != 0) {
        LOG_WRN("battery ADC read failed: %d", err);
        health_fault = true;
        return;
    }

    mv = battery_raw;
    err = adc_raw_to_millivolts_dt(&battery_adc, &mv);
    if (err != 0) {
        LOG_WRN("battery ADC mv conversion failed: %d", err);
        health_fault = true;
        return;
    }

    battery_pct = vbrk_battery_percent_from_mv((uint16_t)mv,
                                               BATTERY_EMPTY_MV,
                                               BATTERY_FULL_MV);
    LOG_INF("battery raw=%d mv=%d pct=%u", battery_raw, mv, battery_pct);
#else
    battery_pct = 100;
#endif
}

static int init_watchdog(void)
{
    if (!IS_ENABLED(CONFIG_VBRK_WATCHDOG_ENABLE)) {
        return 0;
    }

#if DT_HAS_ALIAS(watchdog0)
    struct wdt_timeout_cfg watchdog_cfg = {
        .window = {
            .min = 0,
            .max = WATCHDOG_TIMEOUT_MS,
        },
        .flags = WDT_FLAG_RESET_SOC,
    };
    int err;

    if (!device_is_ready(watchdog)) {
        LOG_WRN("watchdog device is not ready");
        health_fault = true;
        return -ENODEV;
    }

    watchdog_channel_id = wdt_install_timeout(watchdog, &watchdog_cfg);
    if (watchdog_channel_id < 0) {
        LOG_WRN("watchdog install failed: %d", watchdog_channel_id);
        health_fault = true;
        return watchdog_channel_id;
    }

    err = wdt_setup(watchdog, WDT_OPT_PAUSE_HALTED_BY_DBG);
    if (err != 0) {
        LOG_WRN("watchdog setup failed: %d", err);
        health_fault = true;
        return err;
    }

    watchdog_enabled = true;
    LOG_INF("watchdog enabled timeout_ms=%u", WATCHDOG_TIMEOUT_MS);
    return 0;
#else
    LOG_WRN("watchdog enabled in Kconfig, but watchdog0 alias is missing");
    health_fault = true;
    return -ENODEV;
#endif
}

int device_health_init(void)
{
    load_reset_reason();
    sample_battery();
    return init_watchdog();
}

uint8_t device_health_battery_pct(void)
{
    sample_battery();
    return battery_pct;
}

uint16_t device_health_reset_reason(void)
{
    return reset_reason;
}

bool device_health_watchdog_enabled(void)
{
    return watchdog_enabled;
}

bool device_health_fault(void)
{
    return health_fault;
}

void device_health_feed_watchdog(void)
{
#if DT_HAS_ALIAS(watchdog0)
    if (watchdog_enabled && watchdog_channel_id >= 0) {
        int err = wdt_feed(watchdog, watchdog_channel_id);

        if (err != 0) {
            LOG_WRN("watchdog feed failed: %d", err);
            health_fault = true;
        }
    }
#endif
}

void device_health_get(vbrk_device_health_t *health)
{
    if (health == NULL) {
        return;
    }

    health->battery_pct = device_health_battery_pct();
    health->reset_reason = reset_reason;
    health->watchdog_enabled = watchdog_enabled;
    health->fault = health_fault;
}
```

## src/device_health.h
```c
#ifndef DEVICE_HEALTH_H
#define DEVICE_HEALTH_H

#include <stdbool.h>
#include <stdint.h>

#include "viberack_device_health.h"

int device_health_init(void);
uint8_t device_health_battery_pct(void);
uint16_t device_health_reset_reason(void);
bool device_health_watchdog_enabled(void);
bool device_health_fault(void);
void device_health_feed_watchdog(void);
void device_health_get(vbrk_device_health_t *health);

#endif
```

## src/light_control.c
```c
#include "light_control.h"

#include <errno.h>
#include <string.h>

#include <zephyr/device.h>
#include <zephyr/devicetree.h>
#include <zephyr/drivers/gpio.h>
#include <zephyr/drivers/led_strip.h>
#include <zephyr/kernel.h>
#include <zephyr/logging/log.h>

#include "app_ble.h"
#include "viberack_light_frame.h"
#include "viberack_light_policy.h"
#include "viberack_light_state.h"

LOG_MODULE_REGISTER(light_control, LOG_LEVEL_INF);

#if DT_HAS_ALIAS(vbrk_led_data)
static const struct gpio_dt_spec led_data_gpio = GPIO_DT_SPEC_GET(DT_ALIAS(vbrk_led_data), gpios);
#endif

#if DT_HAS_ALIAS(vbrk_led_power)
static const struct gpio_dt_spec led_power_gpio = GPIO_DT_SPEC_GET(DT_ALIAS(vbrk_led_power), gpios);
#endif

#if DT_HAS_ALIAS(vbrk_led_strip)
static const struct device *const led_strip = DEVICE_DT_GET(DT_ALIAS(vbrk_led_strip));
static struct led_rgb strip_pixels[VBRK_SLOT_COUNT];
#endif

static struct k_work_delayable off_work;
static vbrk_light_state_t light_state;
static vbrk_light_frame_t active_frame;
static vbrk_rgb_t active_pixels[VBRK_SLOT_COUNT];
static bool light_outputs_ready;
static bool led_strip_ready;

static int configure_light_outputs(void)
{
#if DT_HAS_ALIAS(vbrk_led_power)
    if (!gpio_is_ready_dt(&led_power_gpio)) {
        return -ENODEV;
    }

#if DT_HAS_ALIAS(vbrk_led_data)
    int err;

    if (!gpio_is_ready_dt(&led_data_gpio)) {
        return -ENODEV;
    }
    err = gpio_pin_configure_dt(&led_data_gpio, GPIO_OUTPUT_INACTIVE);
    if (err != 0) {
        return err;
    }
#endif

    return gpio_pin_configure_dt(&led_power_gpio, GPIO_OUTPUT_INACTIVE);
#else
    LOG_WRN("vbrk-led-power devicetree alias not defined");
    return -ENODEV;
#endif
}

static int configure_led_strip(void)
{
#if DT_HAS_ALIAS(vbrk_led_strip)
    if (!device_is_ready(led_strip)) {
        return -ENODEV;
    }
    LOG_INF("WS2812 LED strip backend ready");
    return 0;
#else
    LOG_INF("WS2812 LED strip backend not configured");
    return 0;
#endif
}

static void set_light_outputs(bool power_on)
{
    if (!light_outputs_ready) {
        ARG_UNUSED(power_on);
        return;
    }

#if DT_HAS_ALIAS(vbrk_led_data)
    (void)gpio_pin_set_dt(&led_data_gpio, 0);
#endif
#if DT_HAS_ALIAS(vbrk_led_power)
    (void)gpio_pin_set_dt(&led_power_gpio, power_on ? 1 : 0);
#else
    ARG_UNUSED(power_on);
#endif
}

static void show_active_pixels(uint8_t active_slots)
{
    ARG_UNUSED(active_slots);

#if DT_HAS_ALIAS(vbrk_led_strip)
    int err;

    if (!led_strip_ready) {
        return;
    }

    for (uint8_t i = 0; i < VBRK_SLOT_COUNT; i++) {
        strip_pixels[i].r = active_pixels[i].r;
        strip_pixels[i].g = active_pixels[i].g;
        strip_pixels[i].b = active_pixels[i].b;
    }

    err = led_strip_update_rgb(led_strip, strip_pixels, VBRK_SLOT_COUNT);
    if (err != 0) {
        LOG_WRN("LED strip update failed: %d", err);
    }
#endif
}

static void drive_leds_off(void)
{
    uint8_t active_slots = 0;

    memset(&active_frame, 0, sizeof(active_frame));
    memset(active_pixels, 0, sizeof(active_pixels));
    show_active_pixels(active_slots);
    set_light_outputs(false);
    LOG_INF("light off");
}

static void drive_leds_command(const vbrk_light_command_t *command)
{
    uint8_t active_slots = 0;
    int err;

    err = vbrk_light_frame_build(command, &active_frame);
    if (err != 0) {
        LOG_WRN("light frame build failed: %d", err);
        return;
    }

    err = vbrk_light_frame_copy_pixels(&active_frame, active_pixels,
                                       VBRK_SLOT_COUNT, &active_slots);
    if (err != 0) {
        LOG_WRN("light frame pixel copy failed: %d", err);
        return;
    }

    set_light_outputs(true);
    show_active_pixels(active_slots);
    LOG_INF("light mode=%u active_slots=%u mask_a=0x%08x mask_b=0x%08x",
            command->mode, active_slots, command->mask_a_le, command->mask_b_le);
}

static void off_work_handler(struct k_work *work)
{
    ARG_UNUSED(work);

    vbrk_light_state_force_off(&light_state);
    drive_leds_off();
    app_ble_report_light_changed();
}

int light_control_init(void)
{
    int err;

    err = configure_light_outputs();
    if (err != 0) {
        LOG_WRN("light outputs unavailable, continuing without physical light output: %d", err);
    } else {
        light_outputs_ready = true;
    }

    err = configure_led_strip();
    if (err != 0) {
        LOG_WRN("WS2812 LED strip unavailable, continuing without physical light output: %d", err);
    } else {
        led_strip_ready = true;
    }

    k_work_init_delayable(&off_work, off_work_handler);
    vbrk_light_state_init(&light_state);
    drive_leds_off();
    return 0;
}

int light_control_apply(const vbrk_light_command_t *command)
{
    vbrk_light_policy_t policy;
    int err;

    err = vbrk_light_state_apply(&light_state, command, k_uptime_get(), &policy);
    if (err != 0) {
        return err;
    }

    k_work_cancel_delayable(&off_work);

    if (!policy.power_on) {
        off_work_handler(NULL);
        return 0;
    }

    drive_leds_command(command);

    app_ble_report_light_changed();
    k_work_schedule(&off_work, K_SECONDS(policy.timeout_s));

    return 0;
}

uint8_t light_control_mode(void)
{
    return vbrk_light_state_mode(&light_state);
}

uint16_t light_control_remaining_s(void)
{
    return vbrk_light_state_remaining_s(&light_state, k_uptime_get());
}
```

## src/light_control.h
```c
#ifndef LIGHT_CONTROL_H
#define LIGHT_CONTROL_H

#include <stdint.h>

#include "viberack_protocol.h"

int light_control_init(void);
int light_control_apply(const vbrk_light_command_t *command);
uint8_t light_control_mode(void);
uint16_t light_control_remaining_s(void);

#endif
```

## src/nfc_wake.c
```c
#include "nfc_wake.h"

#include <errno.h>

#include <zephyr/device.h>
#include <zephyr/devicetree.h>
#include <zephyr/drivers/gpio.h>
#include <zephyr/kernel.h>
#include <zephyr/logging/log.h>

#include "app_ble.h"

LOG_MODULE_REGISTER(nfc_wake, LOG_LEVEL_INF);

#if DT_HAS_ALIAS(vbrk_nfc_fd)
static const struct gpio_dt_spec fd_gpio = GPIO_DT_SPEC_GET(DT_ALIAS(vbrk_nfc_fd), gpios);
static struct gpio_callback fd_callback;
static int64_t last_fd_ms;

static void nfc_fd_handler(const struct device *dev, struct gpio_callback *cb, uint32_t pins)
{
    int64_t now = k_uptime_get();

    ARG_UNUSED(dev);
    ARG_UNUSED(cb);
    ARG_UNUSED(pins);

    if (now - last_fd_ms < 50) {
        return;
    }

    last_fd_ms = now;
    LOG_INF("NFC field detect wake");
    app_ble_report_nfc_fd();
}
#endif

int nfc_wake_init(void)
{
#if DT_HAS_ALIAS(vbrk_nfc_fd)
    int err;

    if (!gpio_is_ready_dt(&fd_gpio)) {
        return -ENODEV;
    }

    err = gpio_pin_configure_dt(&fd_gpio, GPIO_INPUT);
    if (err != 0) {
        return err;
    }

    err = gpio_pin_interrupt_configure_dt(&fd_gpio, GPIO_INT_EDGE_TO_ACTIVE);
    if (err != 0) {
        return err;
    }

    gpio_init_callback(&fd_callback, nfc_fd_handler, BIT(fd_gpio.pin));
    err = gpio_add_callback(fd_gpio.port, &fd_callback);
    if (err != 0) {
        return err;
    }

    LOG_INF("NFC FD wake GPIO armed");
    return 0;
#else
    LOG_WRN("vbrk-nfc-fd devicetree alias not defined");
    return -ENODEV;
#endif
}
```

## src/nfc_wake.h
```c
#ifndef NFC_WAKE_H
#define NFC_WAKE_H

int nfc_wake_init(void);

#endif
```
